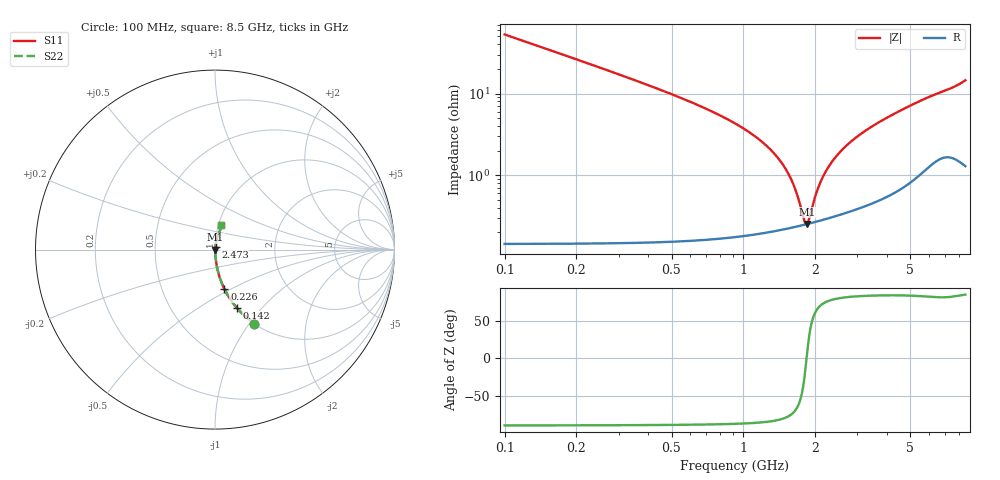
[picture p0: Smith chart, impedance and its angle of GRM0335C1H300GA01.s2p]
!Murata Part Number: GRM0335C1H300GA01
!These Parameters are Measured in Series Mode Connection
!Data Generated on Mar 30, 2021
!  o--ll--o
!Port1  Port2
!  o------o
!Operation Temp=25[degC], DC Bias Voltage=0[V]
!Freq. Start=100[MHz] Stop=9[GHz] 401[Steps]
# Hz S RI R 50
!Freq.(Hz) S11(Real) S11(Imag) S21(Real) S21(Imag) S12(Real) S12(Imag) S22(Real) S22(Imag)
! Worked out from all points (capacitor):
!   401 points, 100 MHz to 8.5 GHz, reference 50 ohm
!   read as one part in series: C = 30 pF near 142 MHz
!   lowest |Z| = 251 mohm at 1.843 GHz (marker M1)
!   series resonance near 1.839 GHz, so ESL is about 250 pH
!   S11 on the Smith chart (normalised r, x): 100 MHz: 1.00, -1.06; 142 MHz: 1.00, -0.74; 226 MHz: 1.00, -0.46; 2.473 GHz: 1.01, +0.03; 8.5 GHz: 1.03, +0.29
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1e8  0.2192 -0.4124  0.7808 0.4124  0.7808 0.4124  0.2192 -0.4124
1.42e8  0.1222 -0.3255  0.8778 0.3255  0.8778 0.3255  0.1222 -0.3255
2.26e8  0.052 -0.2188  0.948 0.2188  0.948 0.2188  0.052 -0.2188
3.52e8  0.022 -0.1418  0.978 0.1418  0.978 0.1418  0.022 -0.1418
4.99e8  0.0111 -0.0972  0.9889 0.0972  0.9889 0.0972  0.0111 -0.0972
1.234e9  0.00251 -0.0235  0.9975 0.0235  0.9975 0.0235  0.00251 -0.0235
1.381e9  0.00236 -0.0166  0.9976 0.0166  0.9976 0.0166  0.00236 -0.0166
1.507e9  0.00232 -0.0115  0.9977 0.0115  0.9977 0.0115  0.00232 -0.0115
1.633e9  0.00235 -0.00682  0.9977 0.00682  0.9977 0.00682  0.00235 -0.00682
1.801e9  0.00246 -0.00119  0.9975 0.00119  0.9975 0.00119  0.00246 -0.00119
1.843e9  0.0025 0.000132  0.9975 -0.000132  0.9975 -0.000132  0.0025 0.000132
1.885e9  0.00255 0.00142  0.9975 -0.00142  0.9975 -0.00142  0.00255 0.00142
2.032e9  0.00273 0.00573  0.9973 -0.00573  0.9973 -0.00573  0.00273 0.00573
2.137e9  0.00288 0.00864  0.9971 -0.00864  0.9971 -0.00864  0.00288 0.00864
2.284e9  0.00312 0.0125  0.9969 -0.0125  0.9969 -0.0125  0.00312 0.0125
2.473e9  0.00348 0.0172  0.9965 -0.0172  0.9965 -0.0172  0.00348 0.0172
2.914e9  0.00447 0.0274  0.9955 -0.0274  0.9955 -0.0274  0.00447 0.0274
3.502e9  0.00613 0.0398  0.9939 -0.0398  0.9939 -0.0398  0.00613 0.0398
4.3e9  0.00917 0.0557  0.9908 -0.0557  0.9908 -0.0557  0.00917 0.0557
5.707e9  0.0179 0.0823  0.9821 -0.0823  0.9821 -0.0823  0.0179 0.0823
7.114e9  0.0276 0.1048  0.9724 -0.1048  0.9724 -0.1048  0.0276 0.1048
8.5e9  0.0325 0.1383  0.9675 -0.1383  0.9675 -0.1383  0.0325 0.1383
